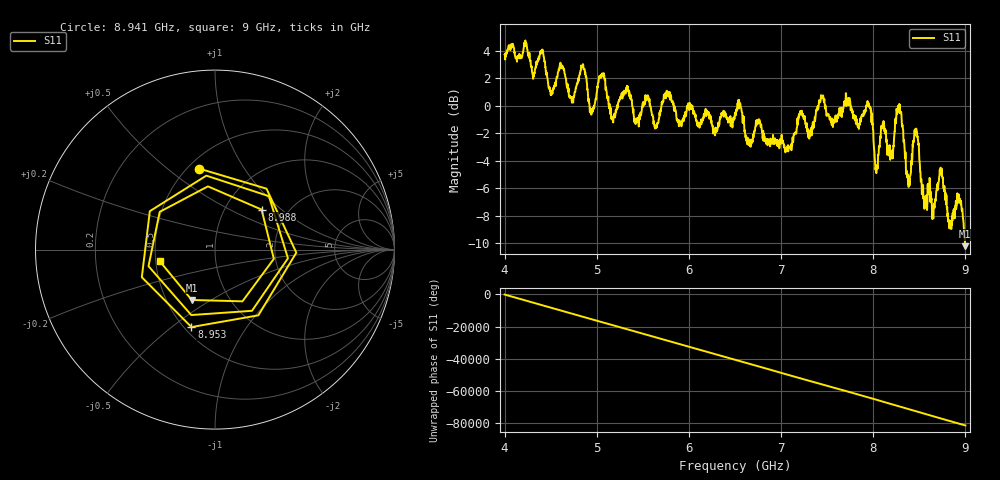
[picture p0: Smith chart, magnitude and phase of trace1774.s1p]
! Created with skrf 1.8.0 (http://scikit-rf.org).
# Hz S RI R 50.0
!freq ReS11 ImS11
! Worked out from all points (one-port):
!   1601 points, 4 GHz to 9 GHz, reference 50 ohm
!   lowest |S11| = -10.2 dB at 8.997 GHz (marker M1), VSWR 1.90, Z = 33.4 - j20.7 ohm
!   |S11| at or under -10 dB: 8.995747 GHz to end of sweep
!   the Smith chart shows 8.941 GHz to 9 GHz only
!   S11 on the Smith chart (normalised r, x): 8.941 GHz: 0.57, +0.65; 8.953 GHz: 0.54, -0.59; 8.988 GHz: 1.48, +0.75; 9 GHz: 0.53, -0.08
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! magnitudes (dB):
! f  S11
! 4 GHz  3.7
! 4.403 GHz  3.9
! 4.503 GHz  0.9
! 4.625 GHz  2.9
! 4.725 GHz  0.6
! 4.856 GHz  2.7
! 4.947 GHz  -0.5
! 5.05 GHz  2.2
! 5.172 GHz  -1.0
! 5.25 GHz  0.5
! 5.875 GHz  -1.0
! 6.5 GHz  -0.5
! 7.125 GHz  -2.3
! 7.75 GHz  0.3
! 7.953 GHz  0.2
! 8.034 GHz  -4.9
! 8.197 GHz  -3.8
! 8.278 GHz  0.0
! 8.375 GHz  -5.0
! 8.466 GHz  -1.7
! 8.559 GHz  -6.7
! 8.731 GHz  -4.5
! 8.831 GHz  -8.8
! 8.941 GHz  -6.8
! 8.953 GHz  -6.9
! 8.988 GHz  -9.3
! 8.997 GHz  -10.2
! 9 GHz  -10.1
